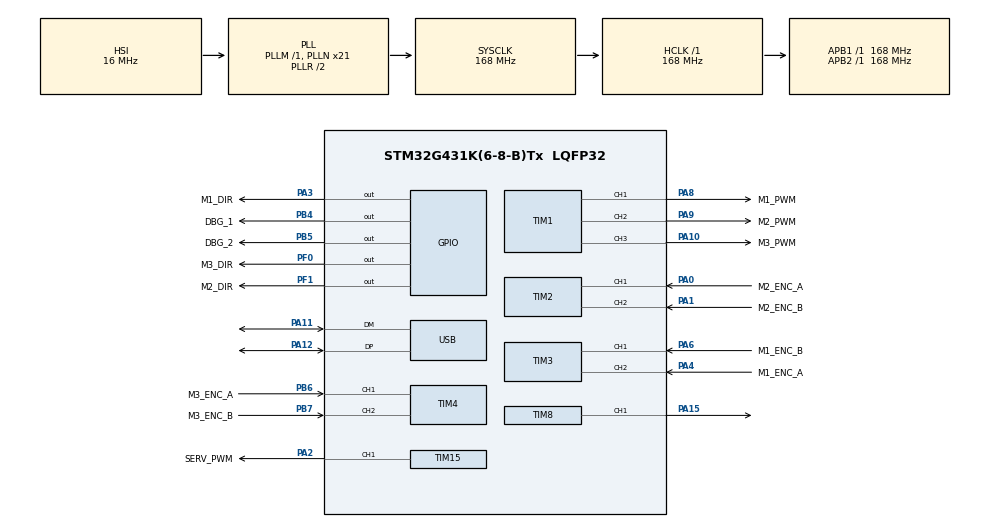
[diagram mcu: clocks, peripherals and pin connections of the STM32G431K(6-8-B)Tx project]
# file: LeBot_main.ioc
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Dma.Request0=TIM15_CH1
Dma.TIM15_CH1.0.Direction=DMA_MEMORY_TO_PERIPH
Dma.TIM15_CH1.0.EventEnable=DISABLE
Dma.TIM15_CH1.0.Instance=DMA1_Channel1
Dma.TIM15_CH1.0.MemDataAlignment=DMA_MDATAALIGN_HALFWORD
Dma.TIM15_CH1.0.MemInc=DMA_MINC_ENABLE
Dma.TIM15_CH1.0.Mode=DMA_CIRCULAR
Dma.TIM15_CH1.0.PeriphDataAlignment=DMA_PDATAALIGN_HALFWORD
Dma.TIM15_CH1.0.PeriphInc=DMA_PINC_DISABLE
Dma.TIM15_CH1.0.Polarity=HAL_DMAMUX_REQ_GEN_RISING
Dma.TIM15_CH1.0.Priority=DMA_PRIORITY_LOW
Dma.TIM15_CH1.0.RequestNumber=1
Dma.TIM15_CH1.0.SignalID=NONE
Dma.TIM15_CH1.0.SyncEnable=DISABLE
Dma.TIM15_CH1.0.SyncPolarity=HAL_DMAMUX_SYNC_NO_EVENT
Dma.TIM15_CH1.0.SyncRequestNumber=1
Dma.TIM15_CH1.0.SyncSignalID=NONE
Mcu.Family=STM32G4
Mcu.Name=STM32G431K(6-8-B)Tx
Mcu.Package=LQFP32
NVIC.DMA1_Channel1_IRQn=true\:0\:0\:false\:false\:true\:false\:true
NVIC.PriorityGroup=NVIC_PRIORITYGROUP_4
NVIC.TIM1_BRK_TIM15_IRQn=true\:0\:0\:false\:false\:true\:true\:true
NVIC.USB_LP_IRQn=true\:0\:0\:false\:false\:true\:false\:true
PA0.GPIO_Label=M2_ENC_A
PA0.Signal=S_TIM2_CH1
PA1.GPIO_Label=M2_ENC_B
PA1.Signal=S_TIM2_CH2
PA10.GPIO_Label=M3_PWM
PA10.Signal=S_TIM1_CH3
PA11.Mode=Device
PA11.Signal=USB_DM
PA12.Mode=Device
PA12.Signal=USB_DP
PA13.Mode=Serial_Wire
PA13.Signal=SYS_JTMS-SWDIO
PA14.Mode=Serial_Wire
PA14.Signal=SYS_JTCK-SWCLK
PA15.Signal=S_TIM8_CH1
PA2.GPIO_Label=SERV_PWM
PA2.Signal=S_TIM15_CH1
PA3.GPIO_Label=M1_DIR
PA3.Signal=GPIO_Output
PA4.GPIO_Label=M1_ENC_A
PA4.Signal=S_TIM3_CH2
PA6.GPIO_Label=M1_ENC_B
PA6.Signal=S_TIM3_CH1
PA8.GPIO_Label=M1_PWM
PA8.Signal=S_TIM1_CH1
PA9.GPIO_Label=M2_PWM
PA9.Signal=S_TIM1_CH2
PB4.GPIO_Label=DBG_1
PB4.Signal=GPIO_Output
PB5.GPIO_Label=DBG_2
PB5.Signal=GPIO_Output
PB6.GPIO_Label=M3_ENC_A
PB6.Signal=S_TIM4_CH1
PB7.GPIO_Label=M3_ENC_B
PB7.Signal=S_TIM4_CH2
PF0-OSC_IN.GPIO_Label=M3_DIR
PF0-OSC_IN.Signal=GPIO_Output
PF1-OSC_OUT.GPIO_Label=M2_DIR
PF1-OSC_OUT.Signal=GPIO_Output
ProjectManager.HeapSize=0x600
ProjectManager.StackSize=0x400
ProjectManager.TargetToolchain=STM32CubeIDE
RCC.ADC12Freq_Value=168000000
RCC.AHBFreq_Value=168000000
RCC.APB1Freq_Value=168000000
RCC.APB1TimFreq_Value=168000000
RCC.APB2Freq_Value=168000000
RCC.APB2TimFreq_Value=168000000
RCC.CK48CLockSelection=RCC_USBCLKSOURCE_HSI48
RCC.CortexFreq_Value=168000000
RCC.EXTERNAL_CLOCK_VALUE=12288000
RCC.HCLKFreq_Value=168000000
RCC.HSE_VALUE=8000000
RCC.HSI48_VALUE=48000000
RCC.HSI_VALUE=16000000
RCC.LSE_VALUE=32768
RCC.PLLN=21
RCC.SYSCLKFreq_VALUE=168000000
RCC.SYSCLKSource=RCC_SYSCLKSOURCE_PLLCLK
RCC.USBFreq_Value=48000000
RCC.VCOOutputFreq_Value=336000000
SH.S_TIM15_CH1.0=TIM15_CH1,PWM Generation1 CH1
SH.S_TIM1_CH1.0=TIM1_CH1,PWM Generation1 CH1
SH.S_TIM1_CH2.0=TIM1_CH2,PWM Generation2 CH2
SH.S_TIM1_CH3.0=TIM1_CH3,PWM Generation3 CH3
SH.S_TIM2_CH1.0=TIM2_CH1,Encoder_Interface
SH.S_TIM2_CH2.0=TIM2_CH2,Encoder_Interface
SH.S_TIM3_CH1.0=TIM3_CH1,Encoder_Interface
SH.S_TIM3_CH2.0=TIM3_CH2,Encoder_Interface
SH.S_TIM4_CH1.0=TIM4_CH1,Encoder_Interface
SH.S_TIM4_CH2.0=TIM4_CH2,Encoder_Interface
SH.S_TIM8_CH1.0=TIM8_CH1,PWM Generation1 CH1
TIM1.Channel-PWM\ Generation1\ CH1=TIM_CHANNEL_1
TIM1.Channel-PWM\ Generation2\ CH2=TIM_CHANNEL_2
TIM1.Channel-PWM\ Generation3\ CH3=TIM_CHANNEL_3
TIM15.Channel-PWM\ Generation1\ CH1=TIM_CHANNEL_1
TIM15.PeriodNoDither=1120
TIM8.Channel-PWM\ Generation1\ CH1=TIM_CHANNEL_1
USB_DEVICE.CLASS_NAME_FS=CDC
USB_DEVICE.VirtualMode=Cdc
USB_DEVICE.VirtualModeFS=Cdc_FS
VP_SYS_VS_DBSignals.Mode=DisableDeadBatterySignals
VP_USB_DEVICE_VS_USB_DEVICE_CDC_FS.Mode=CDC_FS
board=custom

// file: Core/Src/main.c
/* USER CODE BEGIN Header */
/**
  ******************************************************************************
  * @file           : main.c
  * @brief          : Main program body
  ******************************************************************************
  * @attention
  *
  * <h2><center>&copy; Copyright (c) 2021 STMicroelectronics.
  * All rights reserved.</center></h2>
  *
  * This software component is licensed by ST under Ultimate Liberty license
  * SLA0044, the "License"; You may not use this file except in compliance with
  * the License. You may obtain a copy of the License at:
  *                             www.st.com/SLA0044
  *
  ******************************************************************************
  */
/* USER CODE END Header */
#include "main.h"
#include "usb_device.h"

/* USER CODE BEGIN PTD */
typedef struct wheel_motor{
	uint16_t prev_enc;
	float speed;
	int16_t prev_err;
	int8_t direction;		// 0 is forwards, 1 is backwards
	uint16_t enc_val;
	int16_t integration;
	float USB_value;
}wheel_motor;
/* USER CODE END PTD */

TIM_HandleTypeDef htim1;
TIM_HandleTypeDef htim2;
TIM_HandleTypeDef htim3;
TIM_HandleTypeDef htim4;
TIM_HandleTypeDef htim8;
TIM_HandleTypeDef htim15;
DMA_HandleTypeDef hdma_tim15_ch1;

/* USER CODE BEGIN PV */
wheel_motor motors[3];
float timer_s = 0.1;
uint16_t enc_offset = 5000;

uint16_t dma_buf[20]={0};
volatile int thrower_data[4] = {0,0,0,(BIT15)};
volatile int redundancy_count = 0;
uint8_t check = 0;
uint8_t DONE = 0;

float P,I,D,max_enc, error;
volatile float Kp = 0.8;
volatile float Ki = 0.1;
volatile float Kd = 0.9;

uint16_t the_speed = 1500;		// Some meximum speed reference
int16_t enc_delta;

// USB command translate variables
uint8_t receive[17];
volatile float USB_test[3] = {150,150,150};
volatile float USB_test_fun[3] = {150,150,150};
volatile float temp[3] = {0,0,0};

/* USER CODE END PV */

void SystemClock_Config(void);
static void MX_GPIO_Init(void);
static void MX_DMA_Init(void);
static void MX_TIM2_Init(void);
static void MX_TIM3_Init(void);
static void MX_TIM4_Init(void);
static void MX_TIM1_Init(void);
static void MX_TIM15_Init(void);
static void MX_TIM8_Init(void);
/* USER CODE BEGIN PFP */
float* USB_command_translate(uint32_t message_length, uint8_t num_of_vals);
void* DMA_buf_load(uint16_t *buf, uint16_t val);
int CheckSum(int);

/* USER CODE END PFP */

int main(void)
{

  /* MCU Configuration--------------------------------------------------------*/

  /* Reset of all peripherals, Initializes the Flash interface and the Systick. */
  HAL_Init();

  /* Configure the system clock */
  SystemClock_Config();

  /* USER CODE BEGIN SysInit */
  for(int k=0; k<3; k++){
	  motors[k].prev_enc = enc_offset;
	  motors[k].speed = 0;
	  motors[k].direction = 0;
	  motors[k].prev_err = 0;
	  motors[k].integration = 0;
  }
  /* USER CODE END SysInit */

  /* Initialize all configured peripherals */
  MX_GPIO_Init();
  MX_DMA_Init();
  MX_TIM2_Init();
  MX_TIM3_Init();
  MX_TIM4_Init();
  MX_TIM1_Init();
  MX_TIM15_Init();
  MX_USB_Device_Init();
  MX_TIM8_Init();
  /* USER CODE BEGIN 2 */

  __disable_irq();
  RCC->AHB1ENR |= 0x02;

  // Wheel Motor Configuration
  // Motor DIR pins PA3=DIR1, PF1=DIR2, PF0=DIR3
  GPIOA->MODER &= ~(0x3 << 3);
  GPIOA->MODER |= 0x1 << 3;
  GPIOF->MODER &= ~0x0F;
  GPIOF->MODER |= 0x05;
  GPIOF->ODR = 0x00;

  HAL_TIM_PWM_Start(&htim1, TIM_CHANNEL_1);
  HAL_TIM_PWM_Start(&htim1, TIM_CHANNEL_2);
  HAL_TIM_PWM_Start(&htim1, TIM_CHANNEL_3);
  // Set motor frequency to 20kHz, by changing Auto-Reload Register value to core_freq/20k
  TIM1->ARR = 8400; // PWM bandwidth 20kHz, Core frequency is 64MHz
  //Set the duty cycle for each Motor channel
  TIM1->CCR1 = 0;		// CH1 is for M1
  TIM1->CCR2 = 0;		// CH2 is for M2
  TIM1->CCR3 = 0;		// CH3 is for M3

  // Thrower Configuration
  DMA_buf_load(dma_buf, 0);
  TIM15->ARR = 	1120;
  HAL_TIM_PWM_Start_DMA(&htim15, TIM_CHANNEL_1, dma_buf, 20);

//  test = CheckSum(0xFFe);

  //  HAL_TIM_Base_Start_IT(&htim15);
  //HAL_TIM_Base_Start_IT(&htim15);
  //TIM15->DIER &= ~BIT0;

  //Encoder configuration
  HAL_TIM_Encoder_Start(&htim2, TIM_CHANNEL_1 | TIM_CHANNEL_2);
  HAL_TIM_Encoder_Start(&htim3, TIM_CHANNEL_1 | TIM_CHANNEL_2);
  HAL_TIM_Encoder_Start(&htim4, TIM_CHANNEL_1 | TIM_CHANNEL_2);
  // Load Encoder counters with pre-determined values
  TIM2->CNT = enc_offset;			// TIM2 is for M2, setting it to offset value
  TIM3->CNT = enc_offset;			// TIM3 is for M1, setting it to offset value
  TIM4->CNT = enc_offset;			// TIM4 is for M3, setting it to offset value

  // Debug LED Configuration
  GPIOB->MODER &= ~(0x03 << 10);
  GPIOB->MODER |= 0x01<<10;			// Enable DBG2 as OUTPUT
//  GPIOB->BSRR = 0x1 << 5;			// Set HIGH
//  GPIOB->BSRR = 0x1 << 21;		// Set LOW

  // PID Timer Configuration
  RCC->APB1ENR1 |= 0x1 << 5;		// Enable TIM7
  TIM7->PSC = (64000-1)*timer_s;
  TIM7->ARR = 1000-1;
  TIM7->CR1 = 1;
  TIM7->DIER |= 1;					// Update Interrupt Enable (UIE)

  NVIC_EnableIRQ(TIM7_IRQn);		// Enable PID Interrupt routine

  __enable_irq();					// Enable global interrupts

  /* USER CODE END 2 */

  /* Infinite loop */
  /* USER CODE BEGIN WHILE */
  while (1)
  {
//	  TIM1->CCR1 = TIM1->ARR / 3;
//	  TIM1->CCR2 = TIM1->ARR / 3;
//	  TIM1->CCR3 = TIM1->ARR / 3;
//	  TIM1->CCR1 = TIM1->ARR * motors[0].USB_value;	// Load the motor PWM register with the value
//	  TIM1->CCR2 = TIM1->ARR * motors[1].USB_value;	// Load the motor PWM register with the value
//	  TIM1->CCR3 = TIM1->ARR * motors[2].USB_value;
//	  motors[0].enc_val = TIM3->CNT;			// TIM2 is for M2, setting it to offset value
//	  motors[1].enc_val = TIM2->CNT;			// TIM3 is for M1, setting it to offset value
//	  motors[2].enc_val = TIM4->CNT;
//	  delay(10000);

    /* USER CODE END WHILE */

  }
}

void SystemClock_Config(void)
{
  RCC_OscInitTypeDef RCC_OscInitStruct = {0};
  RCC_ClkInitTypeDef RCC_ClkInitStruct = {0};
  RCC_PeriphCLKInitTypeDef PeriphClkInit = {0};

  /** Configure the main internal regulator output voltage
  */
  HAL_PWREx_ControlVoltageScaling(PWR_REGULATOR_VOLTAGE_SCALE1_BOOST);
  /** Initializes the RCC Oscillators according to the specified parameters
  * in the RCC_OscInitTypeDef structure.
  */
  RCC_OscInitStruct.OscillatorType = RCC_OSCILLATORTYPE_HSI|RCC_OSCILLATORTYPE_HSI48;
  RCC_OscInitStruct.HSIState = RCC_HSI_ON;
  RCC_OscInitStruct.HSICalibrationValue = RCC_HSICALIBRATION_DEFAULT;
  RCC_OscInitStruct.HSI48State = RCC_HSI48_ON;
  RCC_OscInitStruct.PLL.PLLState = RCC_PLL_ON;
  RCC_OscInitStruct.PLL.PLLSource = RCC_PLLSOURCE_HSI;
  RCC_OscInitStruct.PLL.PLLM = RCC_PLLM_DIV1;
  RCC_OscInitStruct.PLL.PLLN = 21;
  RCC_OscInitStruct.PLL.PLLP = RCC_PLLP_DIV2;
  RCC_OscInitStruct.PLL.PLLQ = RCC_PLLQ_DIV2;
  RCC_OscInitStruct.PLL.PLLR = RCC_PLLR_DIV2;
  if (HAL_RCC_OscConfig(&RCC_OscInitStruct) != HAL_OK)
  {
    Error_Handler();
  }
  /** Initializes the CPU, AHB and APB buses clocks
  */
  RCC_ClkInitStruct.ClockType = RCC_CLOCKTYPE_HCLK|RCC_CLOCKTYPE_SYSCLK
                              |RCC_CLOCKTYPE_PCLK1|RCC_CLOCKTYPE_PCLK2;
  RCC_ClkInitStruct.SYSCLKSource = RCC_SYSCLKSOURCE_PLLCLK;
  RCC_ClkInitStruct.AHBCLKDivider = RCC_SYSCLK_DIV1;
  RCC_ClkInitStruct.APB1CLKDivider = RCC_HCLK_DIV1;
  RCC_ClkInitStruct.APB2CLKDivider = RCC_HCLK_DIV1;

  if (HAL_RCC_ClockConfig(&RCC_ClkInitStruct, FLASH_LATENCY_4) != HAL_OK)
  {
    Error_Handler();
  }
  /** Initializes the peripherals clocks
  */
  PeriphClkInit.PeriphClockSelection = RCC_PERIPHCLK_USB;
  PeriphClkInit.UsbClockSelection = RCC_USBCLKSOURCE_HSI48;
  if (HAL_RCCEx_PeriphCLKConfig(&PeriphClkInit) != HAL_OK)
  {
    Error_Handler();
  }
}

static void MX_TIM1_Init(void)
{

  TIM_MasterConfigTypeDef sMasterConfig = {0};
  TIM_OC_InitTypeDef sConfigOC = {0};
  TIM_BreakDeadTimeConfigTypeDef sBreakDeadTimeConfig = {0};

  htim1.Instance = TIM1;
  htim1.Init.Prescaler = 0;
  htim1.Init.CounterMode = TIM_COUNTERMODE_UP;
  htim1.Init.Period = 65535;
  htim1.Init.ClockDivision = TIM_CLOCKDIVISION_DIV1;
  htim1.Init.RepetitionCounter = 0;
  htim1.Init.AutoReloadPreload = TIM_AUTORELOAD_PRELOAD_DISABLE;
  if (HAL_TIM_PWM_Init(&htim1) != HAL_OK)
  {
    Error_Handler();
  }
  sMasterConfig.MasterOutputTrigger = TIM_TRGO_RESET;
  sMasterConfig.MasterOutputTrigger2 = TIM_TRGO2_RESET;
  sMasterConfig.MasterSlaveMode = TIM_MASTERSLAVEMODE_DISABLE;
  if (HAL_TIMEx_MasterConfigSynchronization(&htim1, &sMasterConfig) != HAL_OK)
  {
    Error_Handler();
  }
  sConfigOC.OCMode = TIM_OCMODE_PWM1;
  sConfigOC.Pulse = 0;
  sConfigOC.OCPolarity = TIM_OCPOLARITY_HIGH;
  sConfigOC.OCNPolarity = TIM_OCNPOLARITY_HIGH;
  sConfigOC.OCFastMode = TIM_OCFAST_DISABLE;
  sConfigOC.OCIdleState = TIM_OCIDLESTATE_RESET;
  sConfigOC.OCNIdleState = TIM_OCNIDLESTATE_RESET;
  if (HAL_TIM_PWM_ConfigChannel(&htim1, &sConfigOC, TIM_CHANNEL_1) != HAL_OK)
  {
    Error_Handler();
  }
  sConfigOC.Pulse = 0;
  if (HAL_TIM_PWM_ConfigChannel(&htim1, &sConfigOC, TIM_CHANNEL_2) != HAL_OK)
  {
    Error_Handler();
  }
  sConfigOC.Pulse = 0;
  if (HAL_TIM_PWM_ConfigChannel(&htim1, &sConfigOC, TIM_CHANNEL_3) != HAL_OK)
  {
    Error_Handler();
  }
  sBreakDeadTimeConfig.OffStateRunMode = TIM_OSSR_DISABLE;
  sBreakDeadTimeConfig.OffStateIDLEMode = TIM_OSSI_DISABLE;
  sBreakDeadTimeConfig.LockLevel = TIM_LOCKLEVEL_OFF;
  sBreakDeadTimeConfig.DeadTime = 0;
  sBreakDeadTimeConfig.BreakState = TIM_BREAK_DISABLE;
  sBreakDeadTimeConfig.BreakPolarity = TIM_BREAKPOLARITY_HIGH;
  sBreakDeadTimeConfig.BreakFilter = 0;
  sBreakDeadTimeConfig.BreakAFMode = TIM_BREAK_AFMODE_INPUT;
  sBreakDeadTimeConfig.Break2State = TIM_BREAK2_DISABLE;
  sBreakDeadTimeConfig.Break2Polarity = TIM_BREAK2POLARITY_HIGH;
  sBreakDeadTimeConfig.Break2Filter = 0;
  sBreakDeadTimeConfig.Break2AFMode = TIM_BREAK_AFMODE_INPUT;
  sBreakDeadTimeConfig.AutomaticOutput = TIM_AUTOMATICOUTPUT_DISABLE;
  if (HAL_TIMEx_ConfigBreakDeadTime(&htim1, &sBreakDeadTimeConfig) != HAL_OK)
  {
    Error_Handler();
  }
  HAL_TIM_MspPostInit(&htim1);

}

static void MX_TIM2_Init(void)
{

  TIM_Encoder_InitTypeDef sConfig = {0};
  TIM_MasterConfigTypeDef sMasterConfig = {0};

  htim2.Instance = TIM2;
  htim2.Init.Prescaler = 0;
  htim2.Init.CounterMode = TIM_COUNTERMODE_UP;
  htim2.Init.Period = 4.294967295E9;
  htim2.Init.ClockDivision = TIM_CLOCKDIVISION_DIV1;
  htim2.Init.AutoReloadPreload = TIM_AUTORELOAD_PRELOAD_DISABLE;
  sConfig.EncoderMode = TIM_ENCODERMODE_TI1;
  sConfig.IC1Polarity = TIM_ICPOLARITY_RISING;
  sConfig.IC1Selection = TIM_ICSELECTION_DIRECTTI;
  sConfig.IC1Prescaler = TIM_ICPSC_DIV1;
  sConfig.IC1Filter = 0;
  sConfig.IC2Polarity = TIM_ICPOLARITY_RISING;
  sConfig.IC2Selection = TIM_ICSELECTION_DIRECTTI;
  sConfig.IC2Prescaler = TIM_ICPSC_DIV1;
  sConfig.IC2Filter = 0;
  if (HAL_TIM_Encoder_Init(&htim2, &sConfig) != HAL_OK)
  {
    Error_Handler();
  }
  sMasterConfig.MasterOutputTrigger = TIM_TRGO_RESET;
  sMasterConfig.MasterSlaveMode = TIM_MASTERSLAVEMODE_DISABLE;
  if (HAL_TIMEx_MasterConfigSynchronization(&htim2, &sMasterConfig) != HAL_OK)
  {
    Error_Handler();
  }

}

static void MX_TIM3_Init(void)
{

  TIM_Encoder_InitTypeDef sConfig = {0};
  TIM_MasterConfigTypeDef sMasterConfig = {0};

  htim3.Instance = TIM3;
  htim3.Init.Prescaler = 0;
  htim3.Init.CounterMode = TIM_COUNTERMODE_UP;
  htim3.Init.Period = 65535;
  htim3.Init.ClockDivision = TIM_CLOCKDIVISION_DIV1;
  htim3.Init.AutoReloadPreload = TIM_AUTORELOAD_PRELOAD_DISABLE;
  sConfig.EncoderMode = TIM_ENCODERMODE_TI1;
  sConfig.IC1Polarity = TIM_ICPOLARITY_RISING;
  sConfig.IC1Selection = TIM_ICSELECTION_DIRECTTI;
  sConfig.IC1Prescaler = TIM_ICPSC_DIV1;
  sConfig.IC1Filter = 0;
  sConfig.IC2Polarity = TIM_ICPOLARITY_RISING;
  sConfig.IC2Selection = TIM_ICSELECTION_DIRECTTI;
  sConfig.IC2Prescaler = TIM_ICPSC_DIV1;
  sConfig.IC2Filter = 0;
  if (HAL_TIM_Encoder_Init(&htim3, &sConfig) != HAL_OK)
  {
    Error_Handler();
  }
  sMasterConfig.MasterOutputTrigger = TIM_TRGO_RESET;
  sMasterConfig.MasterSlaveMode = TIM_MASTERSLAVEMODE_DISABLE;
  if (HAL_TIMEx_MasterConfigSynchronization(&htim3, &sMasterConfig) != HAL_OK)
  {
    Error_Handler();
  }

}

static void MX_TIM4_Init(void)
{

  TIM_Encoder_InitTypeDef sConfig = {0};
  TIM_MasterConfigTypeDef sMasterConfig = {0};

  htim4.Instance = TIM4;
  htim4.Init.Prescaler = 0;
  htim4.Init.CounterMode = TIM_COUNTERMODE_UP;
  htim4.Init.Period = 65535;
  htim4.Init.ClockDivision = TIM_CLOCKDIVISION_DIV1;
  htim4.Init.AutoReloadPreload = TIM_AUTORELOAD_PRELOAD_DISABLE;
  sConfig.EncoderMode = TIM_ENCODERMODE_TI1;
  sConfig.IC1Polarity = TIM_ICPOLARITY_RISING;
  sConfig.IC1Selection = TIM_ICSELECTION_DIRECTTI;
  sConfig.IC1Prescaler = TIM_ICPSC_DIV1;
  sConfig.IC1Filter = 0;
  sConfig.IC2Polarity = TIM_ICPOLARITY_RISING;
  sConfig.IC2Selection = TIM_ICSELECTION_DIRECTTI;
  sConfig.IC2Prescaler = TIM_ICPSC_DIV1;
  sConfig.IC2Filter = 0;
  if (HAL_TIM_Encoder_Init(&htim4, &sConfig) != HAL_OK)
  {
    Error_Handler();
  }
  sMasterConfig.MasterOutputTrigger = TIM_TRGO_RESET;
  sMasterConfig.MasterSlaveMode = TIM_MASTERSLAVEMODE_DISABLE;
  if (HAL_TIMEx_MasterConfigSynchronization(&htim4, &sMasterConfig) != HAL_OK)
  {
    Error_Handler();
  }

}

static void MX_TIM8_Init(void)
{

  TIM_MasterConfigTypeDef sMasterConfig = {0};
  TIM_OC_InitTypeDef sConfigOC = {0};
  TIM_BreakDeadTimeConfigTypeDef sBreakDeadTimeConfig = {0};

  htim8.Instance = TIM8;
  htim8.Init.Prescaler = 0;
  htim8.Init.CounterMode = TIM_COUNTERMODE_UP;
  htim8.Init.Period = 65535;
  htim8.Init.ClockDivision = TIM_CLOCKDIVISION_DIV1;
  htim8.Init.RepetitionCounter = 0;
  htim8.Init.AutoReloadPreload = TIM_AUTORELOAD_PRELOAD_DISABLE;
  if (HAL_TIM_PWM_Init(&htim8) != HAL_OK)
  {
    Error_Handler();
  }
  sMasterConfig.MasterOutputTrigger = TIM_TRGO_RESET;
  sMasterConfig.MasterOutputTrigger2 = TIM_TRGO2_RESET;
  sMasterConfig.MasterSlaveMode = TIM_MASTERSLAVEMODE_DISABLE;
  if (HAL_TIMEx_MasterConfigSynchronization(&htim8, &sMasterConfig) != HAL_OK)
  {
    Error_Handler();
  }
  sConfigOC.OCMode = TIM_OCMODE_PWM1;
  sConfigOC.Pulse = 0;
  sConfigOC.OCPolarity = TIM_OCPOLARITY_HIGH;
  sConfigOC.OCNPolarity = TIM_OCNPOLARITY_HIGH;
  sConfigOC.OCFastMode = TIM_OCFAST_DISABLE;
  sConfigOC.OCIdleState = TIM_OCIDLESTATE_RESET;
  sConfigOC.OCNIdleState = TIM_OCNIDLESTATE_RESET;
  if (HAL_TIM_PWM_ConfigChannel(&htim8, &sConfigOC, TIM_CHANNEL_1) != HAL_OK)
  {
    Error_Handler();
  }
  sBreakDeadTimeConfig.OffStateRunMode = TIM_OSSR_DISABLE;
  sBreakDeadTimeConfig.OffStateIDLEMode = TIM_OSSI_DISABLE;
  sBreakDeadTimeConfig.LockLevel = TIM_LOCKLEVEL_OFF;
  sBreakDeadTimeConfig.DeadTime = 0;
  sBreakDeadTimeConfig.BreakState = TIM_BREAK_DISABLE;
  sBreakDeadTimeConfig.BreakPolarity = TIM_BREAKPOLARITY_HIGH;
  sBreakDeadTimeConfig.BreakFilter = 0;
  sBreakDeadTimeConfig.BreakAFMode = TIM_BREAK_AFMODE_INPUT;
  sBreakDeadTimeConfig.Break2State = TIM_BREAK2_DISABLE;
  sBreakDeadTimeConfig.Break2Polarity = TIM_BREAK2POLARITY_HIGH;
  sBreakDeadTimeConfig.Break2Filter = 0;
  sBreakDeadTimeConfig.Break2AFMode = TIM_BREAK_AFMODE_INPUT;
  sBreakDeadTimeConfig.AutomaticOutput = TIM_AUTOMATICOUTPUT_DISABLE;
  if (HAL_TIMEx_ConfigBreakDeadTime(&htim8, &sBreakDeadTimeConfig) != HAL_OK)
  {
    Error_Handler();
  }
  HAL_TIM_MspPostInit(&htim8);

}

static void MX_TIM15_Init(void)
{

  TIM_MasterConfigTypeDef sMasterConfig = {0};
  TIM_OC_InitTypeDef sConfigOC = {0};
  TIM_BreakDeadTimeConfigTypeDef sBreakDeadTimeConfig = {0};

  htim15.Instance = TIM15;
  htim15.Init.Prescaler = 0;
  htim15.Init.CounterMode = TIM_COUNTERMODE_UP;
  htim15.Init.Period = 1120;
  htim15.Init.ClockDivision = TIM_CLOCKDIVISION_DIV1;
  htim15.Init.RepetitionCounter = 0;
  htim15.Init.AutoReloadPreload = TIM_AUTORELOAD_PRELOAD_DISABLE;
  if (HAL_TIM_PWM_Init(&htim15) != HAL_OK)
  {
    Error_Handler();
  }
  sMasterConfig.MasterOutputTrigger = TIM_TRGO_RESET;
  sMasterConfig.MasterSlaveMode = TIM_MASTERSLAVEMODE_DISABLE;
  if (HAL_TIMEx_MasterConfigSynchronization(&htim15, &sMasterConfig) != HAL_OK)
  {
    Error_Handler();
  }
  sConfigOC.OCMode = TIM_OCMODE_PWM1;
  sConfigOC.Pulse = 0;
  sConfigOC.OCPolarity = TIM_OCPOLARITY_HIGH;
  sConfigOC.OCNPolarity = TIM_OCNPOLARITY_HIGH;
  sConfigOC.OCFastMode = TIM_OCFAST_DISABLE;
  sConfigOC.OCIdleState = TIM_OCIDLESTATE_RESET;
  sConfigOC.OCNIdleState = TIM_OCNIDLESTATE_RESET;
  if (HAL_TIM_PWM_ConfigChannel(&htim15, &sConfigOC, TIM_CHANNEL_1) != HAL_OK)
  {
    Error_Handler();
  }
  sBreakDeadTimeConfig.OffStateRunMode = TIM_OSSR_DISABLE;
  sBreakDeadTimeConfig.OffStateIDLEMode = TIM_OSSI_DISABLE;
  sBreakDeadTimeConfig.LockLevel = TIM_LOCKLEVEL_OFF;
  sBreakDeadTimeConfig.DeadTime = 0;
  sBreakDeadTimeConfig.BreakState = TIM_BREAK_DISABLE;
  sBreakDeadTimeConfig.BreakPolarity = TIM_BREAKPOLARITY_HIGH;
  sBreakDeadTimeConfig.BreakFilter = 0;
  sBreakDeadTimeConfig.AutomaticOutput = TIM_AUTOMATICOUTPUT_DISABLE;
  if (HAL_TIMEx_ConfigBreakDeadTime(&htim15, &sBreakDeadTimeConfig) != HAL_OK)
  {
    Error_Handler();
  }
  HAL_TIM_MspPostInit(&htim15);

}

static void MX_DMA_Init(void)
{

  /* DMA controller clock enable */
  __HAL_RCC_DMAMUX1_CLK_ENABLE();
  __HAL_RCC_DMA1_CLK_ENABLE();

  /* DMA interrupt init */
  /* DMA1_Channel1_IRQn interrupt configuration */
  HAL_NVIC_SetPriority(DMA1_Channel1_IRQn, 0, 0);
  HAL_NVIC_EnableIRQ(DMA1_Channel1_IRQn);

}

static void MX_GPIO_Init(void)
{
  GPIO_InitTypeDef GPIO_InitStruct = {0};

  /* GPIO Ports Clock Enable */
  __HAL_RCC_GPIOF_CLK_ENABLE();
  __HAL_RCC_GPIOA_CLK_ENABLE();
  __HAL_RCC_GPIOB_CLK_ENABLE();

  /*Configure GPIO pin Output Level */
  HAL_GPIO_WritePin(GPIOF, M3_DIR_Pin|M2_DIR_Pin, GPIO_PIN_RESET);

  /*Configure GPIO pin Output Level */
  HAL_GPIO_WritePin(M1_DIR_GPIO_Port, M1_DIR_Pin, GPIO_PIN_RESET);

  /*Configure GPIO pin Output Level */
  HAL_GPIO_WritePin(GPIOB, DBG_1_Pin|DBG_2_Pin, GPIO_PIN_RESET);

  /*Configure GPIO pins : M3_DIR_Pin M2_DIR_Pin */
  GPIO_InitStruct.Pin = M3_DIR_Pin|M2_DIR_Pin;
  GPIO_InitStruct.Mode = GPIO_MODE_OUTPUT_PP;
  GPIO_InitStruct.Pull = GPIO_NOPULL;
  GPIO_InitStruct.Speed = GPIO_SPEED_FREQ_LOW;
  HAL_GPIO_Init(GPIOF, &GPIO_InitStruct);

  /*Configure GPIO pin : M1_DIR_Pin */
  GPIO_InitStruct.Pin = M1_DIR_Pin;
  GPIO_InitStruct.Mode = GPIO_MODE_OUTPUT_PP;
  GPIO_InitStruct.Pull = GPIO_NOPULL;
  GPIO_InitStruct.Speed = GPIO_SPEED_FREQ_LOW;
  HAL_GPIO_Init(M1_DIR_GPIO_Port, &GPIO_InitStruct);

  /*Configure GPIO pins : DBG_1_Pin DBG_2_Pin */
  GPIO_InitStruct.Pin = DBG_1_Pin|DBG_2_Pin;
  GPIO_InitStruct.Mode = GPIO_MODE_OUTPUT_PP;
  GPIO_InitStruct.Pull = GPIO_NOPULL;
  GPIO_InitStruct.Speed = GPIO_SPEED_FREQ_LOW;
  HAL_GPIO_Init(GPIOB, &GPIO_InitStruct);

}

/* USER CODE BEGIN 4 */
void CDC_On_Receive(uint8_t* buffer, uint32_t* length){

	uint8_t motor_state = 0;
	int8_t direction[3] = {0};
	uint16_t temp[3] = {0};
	int8_t count = 0;
	uint8_t decimal_loc = 100;
	memcpy(&receive, buffer, sizeof(receive)/sizeof(uint8_t));
	uint8_t command = receive[0] + receive[1];

	switch(command){
		float *pointing;
		USB_test[0] = 0;
		USB_test[1] = 0;
		USB_test[2] = 0;
	case 175: // If message starts with s<
		pointing = USB_command_translate(*length, 3);
		for(int k=0; k<3; k++){
			if(*pointing == 0){
				motors[k].USB_value = *pointing/100.0;
			}
			else if(*pointing < 0){
				motors[k].USB_value = -*pointing/100.0;
				motors[k].direction = 1;
			}
			else {
				motors[k].USB_value = *pointing/100.0;
				motors[k].direction = 0;

			}
			// Motor DIR pins PA3=DIR1, PF1=DIR2, PF0=DIR3
			GPIOA->ODR &= ~(BIT3);
			GPIOA->ODR |= motors[0].direction << 3;
			GPIOF->ODR &= ~(BIT0 | BIT1);
			GPIOF->ODR |= motors[1].direction << 1;
			GPIOF->ODR |= motors[2].direction;
			pointing++;
		}
		break;

	case 176:	// If message starts with t<

		pointing = USB_command_translate(*length,1);
		thrower_data[0] = *pointing;
		switch(thrower_data[0]){
		case 0:
			break;
		default:
			thrower_data[0] = (47+thrower_data[0]*20) << 1;
			break;
		}
		DMA_buf_load(&dma_buf[0],CheckSum(thrower_data[0]));
		break;
	case 167:

		pointing = USB_command_translate(*length,3);
		Kp = *pointing / 100.0;
		pointing++;
		Ki = *pointing/100.0;
		pointing++;
		Kd = *pointing/100.0;
		break;
	}
}

void DMA1_Channel1_IRQnHandler(void){

}

void TIM7_IRQHandler(void){

	// PID Main Handler
	max_enc = 3000;
	//int16_t error;
	//int16_t enc_delta;

//	char transmit[10] = {0};

	// Load the motor encoder variables with the latest Encoder values
	motors[0].enc_val = TIM3->CNT;
	motors[1].enc_val = TIM2->CNT;
	motors[2].enc_val = TIM4->CNT;

	TIM3->CNT = enc_offset;
	TIM2->CNT = enc_offset;
	TIM4->CNT = enc_offset;

	for(int k=0; k<3; k++){
		if(k==0){
			enc_delta = enc_offset - motors[k].enc_val;
			if(motors[k].direction == 1){
				enc_delta = -enc_delta;
			}
		}
		if(k==1 || k==2){
			enc_delta = enc_offset - motors[k].enc_val;
			if(motors[k].direction == 0){
				enc_delta = -enc_delta;
			}
		}

//		error = the_speed*timer_s*0.5 - enc_delta;
		error = max_enc*timer_s*motors[k].USB_value - enc_delta;

		if(error > 5 || error < -5){
			P = Kp*error;

			I = (motors[k].integration + error)*Ki;
			motors[k].integration = motors[k].integration + error;

			D = (error-motors[k].prev_err)*timer_s*Kd;
			motors[k].prev_err = error;

			motors[k].speed = motors[k].speed + (D+I+P)/(max_enc*timer_s/0.5);
			//motors[k].speed = (D+I+P)/(max_enc*timer_s/0.5);	// TEST
			if(motors[k].speed>1){
				motors[k].speed = 1;
			}
			motors[k].prev_enc = motors[k].enc_val;
		}
		else{
			motors[k].prev_enc = motors[k].enc_val;
		}
	}
	TIM1->CCR1 = TIM1->ARR * motors[0].speed;	// Load the motor PWM register with the value
	TIM1->CCR2 = TIM1->ARR * motors[1].speed;	// Load the motor PWM register with the value
	TIM1->CCR3 = TIM1->ARR * motors[2].speed;	// Load the motor PWM register with the value

	GPIOB->ODR ^= BIT4;
	TIM7->SR = 0;
}

float* USB_command_translate(uint32_t message_length, uint8_t num_of_vals){
	int8_t sign = 1;
	uint8_t count = 0;
	uint8_t num_count = 0;
	uint8_t decimal_loc = 100;
	uint8_t error = 0;
	temp[0] = 0;
	temp[1] = 0;
	temp[2] = 0;

	for(int k=2; k<message_length; k++){

		// Set the sign of the number
		if(receive[k] == 45){
			sign = -1;
		}
		// break, if there are four digits in any number
		else if(count == 4){
			temp[0] = 0;
			temp[1] = 0;
			temp[2] = 0;
		}

		else if(receive[k] == 58){	// If symbol is ":"
			temp[num_count] = sign*temp[num_count]/pow(10,3-count);	//Finish up the previous number
			if(temp[num_count] > 100 || temp[num_count] < -100) error = 1; // Check if the number is in boundaries
			USB_test_fun[num_count] = temp[num_count];
			count=0;				// Set digit count to 0
			decimal_loc = 100;		// Set the decimal point location
			num_count++;			// Increment the number count
			sign=1;					// Reset the sign for the next number
		}
		else if(receive[k] == 62){	// If symbol is ">" (terminate)
			temp[num_count] = sign*temp[num_count]/pow(10,3-count); // Finsih up the previous number
			if(temp[num_count] > 100 || temp[num_count] < -100) error = 1; // Check if the number is in boundaries
			USB_test_fun[num_count] = temp[num_count];
			num_count++;
			break;
		}
		// Number manipulation
		else{
			temp[num_count] = temp[num_count] + (receive[k]-48)*decimal_loc;
			decimal_loc = decimal_loc/10;
			count++;
		}
	}
	// Amount of counted numbers must mathc the input parameter
	if(num_count != num_of_vals){
		// Send that message was not successfully read
		temp[0] = 0;
		temp[1] = 0;
		temp[2] = 0;
		return temp;
	}
	else if(error == 1){
		temp[0] = 0;
		temp[1] = 0;
		temp[2] = 0;
		return temp;
	}
	else{
		return temp;

	}
}

void* DMA_buf_load(uint16_t *buf, uint16_t val){
	uint32_t pos = BIT15;
	for(int k=0; k<30; k++){
		if(k<16){
			if(val&pos){
				*buf = 838;
			}
			else{
				*buf = 419;
			}
			pos = pos >> 1;
		}
		else{
			*buf = 0;
		}
		buf++;
	}
}

int CheckSum(int packet){
	int csum = 0;
	int csum_data = packet;
	for (int i = 0; i < 3; i++) {
	 csum ^= csum_data; // xor data by nibbles
	 csum_data >>= 4;
	}
	csum &= 0xf;
	// append checksum
	packet = (packet << 4) | csum;
}

/* USER CODE END 4 */

void Error_Handler(void)
{
}

/************************ (C) COPYRIGHT STMicroelectronics *****END OF FILE****/
